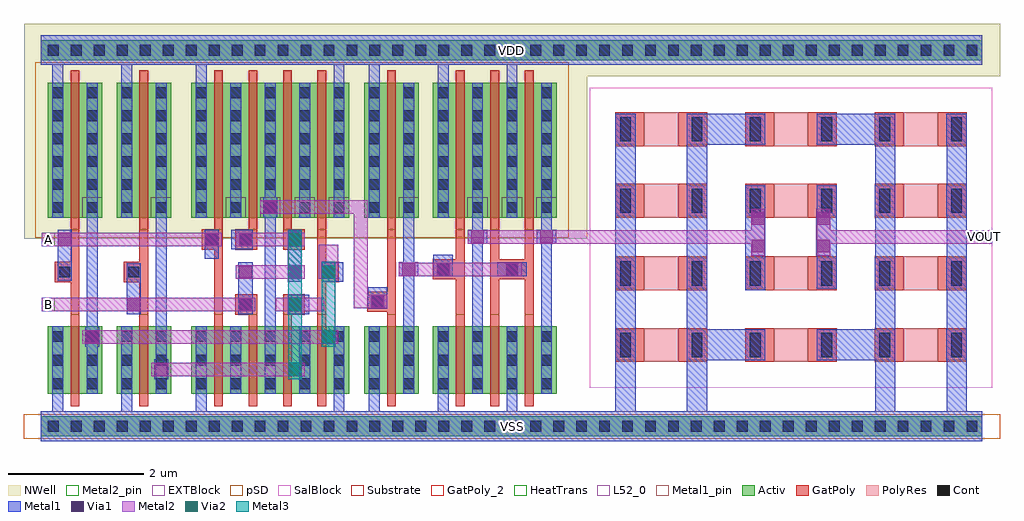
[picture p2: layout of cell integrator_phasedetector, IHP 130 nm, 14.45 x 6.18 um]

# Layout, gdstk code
from math import pi, radians
import gdstk
lib = gdstk.Library(unit=1e-6, precision=1e-09)
def R(c, l, rs):  # rectangles x0, y0, x1, y1
    for r in rs: c.add(gdstk.rectangle(r[:2], r[2:], *l))
def A(c, l, x, y, w, h, nx, ny, dx, dy):  # array of equal rectangles
    R(c, l, [(x+i*dx, y+j*dy, x+i*dx+w, y+j*dy+h) for i in range(nx) for j in range(ny)])
def P(c, l, *ps):  # polygons
    for p in ps: c.add(gdstk.Polygon(p, *l))
Activ = (1, 0)
GatPoly = (5, 0)
GatPoly_2 = (5, 2)
Cont = (6, 0)
Metal1 = (8, 0)
Metal1_pin = (8, 2)
Metal2 = (10, 0)
Metal2_pin = (10, 2)
pSD = (14, 0)
Via1 = (19, 0)
SalBlock = (28, 0)
Via2 = (29, 0)
Metal3 = (30, 0)
NWell = (31, 0)
Substrate = (40, 0)
HeatTrans = (51, 0)
L52_0 = (52, 0)
EXTBlock = (111, 0)
PolyRes = (128, 0)

nmos_3 = lib.new_cell('nmos$3')
R(nmos_3, Activ, [(0,0,0.3,0.3), (0,0,0.81,1), (0.51,0,0.81,0.3)])
R(nmos_3, GatPoly, [(0.34,-0.18,0.47,1.18)])
R(nmos_3, GatPoly_2, [(0.34,-0.18,0.47,1.18)])
A(nmos_3, Cont, 0.07, 0.07, 0.16, 0.16, 1, 3, 0, 0.35)
A(nmos_3, Cont, 0.58, 0.07, 0.16, 0.16, 1, 3, 0, 0.35)
R(nmos_3, Metal1, [(0.07,0,0.23,1), (0.58,0,0.74,1)])
R(nmos_3, Metal1_pin, [(0.07,0,0.23,1), (0.58,0,0.74,1)])
R(nmos_3, HeatTrans, [(0.34,-0.18,0.47,1.18)])
nmos_3.add(gdstk.Label('nmos', (0.405,0.5), layer=63, texttype=0))
nmos_3.add(gdstk.Label('nmos', (0.405,0.5), layer=51, texttype=0))

pmos_5 = lib.new_cell('pmos$5')
R(pmos_5, Activ, [(0,0,0.3,0.3), (0,0,0.81,2), (0.51,0,0.81,0.3)])
R(pmos_5, GatPoly, [(0.34,-0.18,0.47,2.18), (0.34,-0.18,0.47,2.18)])
A(pmos_5, Cont, 0.07, 0.07, 0.16, 0.16, 1, 6, 0, 0.34)
A(pmos_5, Cont, 0.58, 0.07, 0.16, 0.16, 1, 6, 0, 0.34)
R(pmos_5, Metal1, [(0.07,0,0.23,2), (0.07,0,0.23,2), (0.58,0,0.74,2), (0.58,0,0.74,2)])
R(pmos_5, pSD, [(-0.18,-0.3,0.99,2.3)])
R(pmos_5, NWell, [(-0.31,-0.31,1.12,2.31)])
R(pmos_5, Substrate, [(0.51,0,0.81,0.3)])
R(pmos_5, HeatTrans, [(0.34,-0.18,0.47,2.18)])
pmos_5.add(gdstk.Label('pmos', (0.405,1), layer=63, texttype=0))
pmos_5.add(gdstk.Label('pmos', (0.405,1), layer=51, texttype=0))

via_stack_4_2 = lib.new_cell('via_stack$4$2')
R(via_stack_4_2, Metal1, [(-0.145,-0.105,0.145,0.105)])
R(via_stack_4_2, Metal2, [(-0.145,-0.1,0.145,0.1)])
R(via_stack_4_2, Via1, [(-0.095,-0.095,0.095,0.095)])

via_stack_6 = lib.new_cell('via_stack$6')
R(via_stack_6, Activ, [(-6.95,-0.15,6.95,0.15)])
A(via_stack_6, Cont, -6.88, -0.08, 0.16, 0.16, 41, 1, 0.34, 0)
R(via_stack_6, Metal1, [(-6.93,-0.08,6.93,0.08)])

via_stack_2_1 = lib.new_cell('via_stack$2$1')
R(via_stack_2_1, GatPoly, [(-0.15,-0.15,0.15,0.15)])
R(via_stack_2_1, Cont, [(-0.08,-0.08,0.08,0.08)])
R(via_stack_2_1, Metal1, [(-0.145,-0.105,0.145,0.105)])
R(via_stack_2_1, Metal2, [(-0.145,-0.1,0.145,0.1)])
R(via_stack_2_1, Via1, [(-0.095,-0.095,0.095,0.095)])

via_stack_5_2 = lib.new_cell('via_stack$5$2')
R(via_stack_5_2, GatPoly, [(-0.15,-0.15,0.15,0.15)])
R(via_stack_5_2, Cont, [(-0.08,-0.08,0.08,0.08)])
R(via_stack_5_2, Metal1, [(-0.145,-0.105,0.145,0.105)])
R(via_stack_5_2, Metal2, [(-0.145,-0.1,0.145,0.1)])
R(via_stack_5_2, Via1, [(-0.095,-0.095,0.095,0.095)])

nmos_2 = lib.new_cell('nmos$2')
R(nmos_2, Activ, [(0,0,0.3,0.3), (0,0,0.81,1), (0.51,0,0.81,0.3)])
R(nmos_2, GatPoly, [(0.34,-0.18,0.47,1.18)])
R(nmos_2, GatPoly_2, [(0.34,-0.18,0.47,1.18)])
A(nmos_2, Cont, 0.07, 0.07, 0.16, 0.16, 1, 3, 0, 0.35)
A(nmos_2, Cont, 0.58, 0.07, 0.16, 0.16, 1, 3, 0, 0.35)
R(nmos_2, Metal1, [(0.07,0,0.23,1), (0.58,0,0.74,1)])
R(nmos_2, Metal1_pin, [(0.07,0,0.23,1), (0.58,0,0.74,1)])
R(nmos_2, HeatTrans, [(0.34,-0.18,0.47,1.18)])
nmos_2.add(gdstk.Label('nmos', (0.405,0.5), layer=63, texttype=0))
nmos_2.add(gdstk.Label('nmos', (0.405,0.5), layer=51, texttype=0))

nmos_1_3_1 = lib.new_cell('nmos$1$3$1')
R(nmos_1_3_1, Activ, [(15,0,15.3,0.3), (15,0,15.81,1), (15.51,0,15.81,0.3)])
R(nmos_1_3_1, GatPoly, [(15.34,-0.18,15.47,1.18)])
R(nmos_1_3_1, GatPoly_2, [(15.34,-0.18,15.47,1.18)])
A(nmos_1_3_1, Cont, 15.07, 0.07, 0.16, 0.16, 1, 3, 0, 0.35)
A(nmos_1_3_1, Cont, 15.58, 0.07, 0.16, 0.16, 1, 3, 0, 0.35)
R(nmos_1_3_1, Metal1, [(15.07,0,15.23,1), (15.58,0,15.74,1)])
R(nmos_1_3_1, Metal1_pin, [(15.07,0,15.23,1), (15.58,0,15.74,1)])
R(nmos_1_3_1, HeatTrans, [(15.34,-0.18,15.47,1.18)])
nmos_1_3_1.add(gdstk.Label('nmos', (15.405,0.5), layer=63, texttype=0))
nmos_1_3_1.add(gdstk.Label('nmos', (15.405,0.5), layer=51, texttype=0))

nmos_1_3 = lib.new_cell('nmos$1$3')
R(nmos_1_3, Activ, [(15,0,15.3,0.3), (15,0,15.81,1), (15.51,0,15.81,0.3)])
R(nmos_1_3, GatPoly, [(15.34,-0.18,15.47,1.18)])
R(nmos_1_3, GatPoly_2, [(15.34,-0.18,15.47,1.18)])
A(nmos_1_3, Cont, 15.07, 0.07, 0.16, 0.16, 1, 3, 0, 0.35)
A(nmos_1_3, Cont, 15.58, 0.07, 0.16, 0.16, 1, 3, 0, 0.35)
R(nmos_1_3, Metal1, [(15.07,0,15.23,1), (15.58,0,15.74,1)])
R(nmos_1_3, Metal1_pin, [(15.07,0,15.23,1), (15.58,0,15.74,1)])
R(nmos_1_3, HeatTrans, [(15.34,-0.18,15.47,1.18)])
nmos_1_3.add(gdstk.Label('nmos', (15.405,0.5), layer=63, texttype=0))
nmos_1_3.add(gdstk.Label('nmos', (15.405,0.5), layer=51, texttype=0))

pmos_4 = lib.new_cell('pmos$4')
R(pmos_4, Activ, [(15,0,15.3,0.3), (15,0,15.81,2), (15.51,0,15.81,0.3)])
R(pmos_4, GatPoly, [(15.34,-0.18,15.47,2.18), (15.34,-0.18,15.47,2.18)])
A(pmos_4, Cont, 15.07, 0.07, 0.16, 0.16, 1, 6, 0, 0.34)
A(pmos_4, Cont, 15.58, 0.07, 0.16, 0.16, 1, 6, 0, 0.34)
R(pmos_4, Metal1, [(15.07,0,15.23,2), (15.07,0,15.23,2), (15.58,0,15.74,2), (15.58,0,15.74,2)])
R(pmos_4, pSD, [(14.82,-0.3,15.99,2.3)])
R(pmos_4, NWell, [(14.69,-0.31,16.12,2.31)])
R(pmos_4, Substrate, [(15.51,0,15.81,0.3)])
R(pmos_4, HeatTrans, [(15.34,-0.18,15.47,2.18)])
pmos_4.add(gdstk.Label('pmos', (15.405,1), layer=63, texttype=0))
pmos_4.add(gdstk.Label('pmos', (15.405,1), layer=51, texttype=0))

pmos_4_1 = lib.new_cell('pmos$4$1')
R(pmos_4_1, Activ, [(15,0,15.3,0.3), (15,0,15.81,2), (15.51,0,15.81,0.3)])
R(pmos_4_1, GatPoly, [(15.34,-0.18,15.47,2.18), (15.34,-0.18,15.47,2.18)])
A(pmos_4_1, Cont, 15.07, 0.07, 0.16, 0.16, 1, 6, 0, 0.34)
A(pmos_4_1, Cont, 15.58, 0.07, 0.16, 0.16, 1, 6, 0, 0.34)
R(pmos_4_1, Metal1, [(15.07,0,15.23,2), (15.07,0,15.23,2), (15.58,0,15.74,2), (15.58,0,15.74,2)])
R(pmos_4_1, pSD, [(14.82,-0.3,15.99,2.3)])
R(pmos_4_1, NWell, [(14.69,-0.31,16.12,2.31)])
R(pmos_4_1, Substrate, [(15.51,0,15.81,0.3)])
R(pmos_4_1, HeatTrans, [(15.34,-0.18,15.47,2.18)])
pmos_4_1.add(gdstk.Label('pmos', (15.405,1), layer=63, texttype=0))
pmos_4_1.add(gdstk.Label('pmos', (15.405,1), layer=51, texttype=0))

pmos_2 = lib.new_cell('pmos$2')
R(pmos_2, Activ, [(0,0,0.3,0.3), (0,0,0.81,2), (0.51,0,0.81,0.3)])
R(pmos_2, GatPoly, [(0.34,-0.18,0.47,2.18), (0.34,-0.18,0.47,2.18)])
A(pmos_2, Cont, 0.07, 0.07, 0.16, 0.16, 1, 6, 0, 0.34)
A(pmos_2, Cont, 0.58, 0.07, 0.16, 0.16, 1, 6, 0, 0.34)
R(pmos_2, Metal1, [(0.07,0,0.23,2), (0.07,0,0.23,2), (0.58,0,0.74,2), (0.58,0,0.74,2)])
R(pmos_2, pSD, [(-0.18,-0.3,0.99,2.3)])
R(pmos_2, NWell, [(-0.31,-0.31,1.12,2.31)])
R(pmos_2, Substrate, [(0.51,0,0.81,0.3)])
R(pmos_2, HeatTrans, [(0.34,-0.18,0.47,2.18)])
pmos_2.add(gdstk.Label('pmos', (0.405,1), layer=63, texttype=0))
pmos_2.add(gdstk.Label('pmos', (0.405,1), layer=51, texttype=0))

via_stack_5_1 = lib.new_cell('via_stack$5$1')
R(via_stack_5_1, GatPoly, [(-0.15,-0.15,0.15,0.15)])
R(via_stack_5_1, Cont, [(-0.08,-0.08,0.08,0.08)])
R(via_stack_5_1, Metal1, [(-0.13,-0.08,0.13,0.08)])

via_stack_1_3 = lib.new_cell('via_stack$1$3')
R(via_stack_1_3, GatPoly, [(14.85,-0.15,15.15,0.15)])
R(via_stack_1_3, Cont, [(14.92,-0.08,15.08,0.08)])
R(via_stack_1_3, Metal1, [(14.87,-0.08,15.13,0.08)])

via_stack_1_3_1 = lib.new_cell('via_stack$1$3$1')
R(via_stack_1_3_1, GatPoly, [(14.85,-0.15,15.15,0.15)])
R(via_stack_1_3_1, Cont, [(14.92,-0.08,15.08,0.08)])
R(via_stack_1_3_1, Metal1, [(14.87,-0.08,15.13,0.08)])

rppd = lib.new_cell('rppd')
R(rppd, GatPoly, [(0,-0.43,0.5,-0.2), (0,-0.2,0.5,0), (0,0.5,0.5,0.7), (0,0.7,0.5,0.93)])
R(rppd, Cont, [(0.07,-0.36,0.43,-0.2), (0.07,0.7,0.43,0.86)])
R(rppd, Metal1, [(0.02,-0.43,0.48,-0.13), (0.02,0.63,0.48,0.93)])
R(rppd, Metal1_pin, [(0.02,-0.43,0.48,-0.13), (0.02,0.63,0.48,0.93)])
R(rppd, pSD, [(-0.18,-0.61,0.68,0), (-0.18,0,0.68,0.5), (-0.18,0.5,0.68,1.11)])
R(rppd, SalBlock, [(-0.2,0,0.7,0.5)])
R(rppd, L52_0, [(0,0,0.5,0.5)])
R(rppd, EXTBlock, [(-0.18,-0.61,0.68,0), (-0.2,0,0.7,0.5), (-0.18,0.5,0.68,1.11)])
R(rppd, PolyRes, [(0,0,0.5,0.5)])
rppd.add(gdstk.Label('rppd r=396.917', (0.25,0.25), layer=63, texttype=0))
rppd.add(gdstk.Label('rppd', (0.25,0.25), layer=52, texttype=0))

via_stack_10 = lib.new_cell('via_stack$10')
R(via_stack_10, Metal1, [(-0.105,-0.35,0.105,0.35)])
R(via_stack_10, Metal2, [(-0.1,-0.35,0.1,0.35)])
R(via_stack_10, Via1, [(-0.095,-0.3,0.095,-0.11), (-0.095,0.11,0.095,0.3)])

integrator_phasedetector = lib.new_cell('integrator_phasedetector')
R(integrator_phasedetector, GatPoly, [(0.69,1.86,0.82,3.11), (1.71,1.86,1.84,3.11), (6.355,2.375,6.395,2.675), (7.035,2.375,7.415,2.675)])
A(integrator_phasedetector, Metal1, 3.175, 1.86, 0.21, 0.29, 1, 3, 0, 0.48)
R(integrator_phasedetector, Metal1, [(5.005,-0.02,14.19,0.42), (8.755,0.415,9.055,4.83), (9.815,0.415,10.115,4.83), (12.6,0.415,12.9,4.83), (13.66,0.415,13.96,4.83), (0.42,0.42,0.58,1.08), (1.44,0.42,1.6,1.08), (1.925,0.9,2.135,1.19), (0.93,1.135,1.09,3.725), (1.95,1.135,2.11,3.725), (9.815,1.175,10.975,1.635), (11.735,1.175,12.895,1.635), (0.905,1.38,1.115,1.67), (1.52,1.86,1.73,2.15), (3.905,1.86,4.225,2.15), (5.09,1.94,5.38,2.26), (10.675,2.215,10.975,3.77), (11.735,2.235,12.035,3.77), (3.905,2.34,4.115,2.63), (4.405,2.34,4.725,2.63), (6.06,2.42,6.35,2.74), (7.01,2.42,7.44,2.63), (0.5,2.82,0.71,3.11), (3.065,2.82,3.385,3.11), (3.54,3.3,3.75,3.59), (9.815,4.37,10.975,4.83), (11.735,4.37,12.895,4.83), (0.42,4.67,0.58,5.76), (1.44,4.67,1.6,5.76), (5.005,5.55,14.19,5.99)])
P(integrator_phasedetector, Metal1, [(0.42,5.01),(0.42,5.01),(0.58,5.01),(0.58,5.01)],
  [(1.44,5.01),(1.44,5.01),(1.6,5.01),(1.6,5.01)])
R(integrator_phasedetector, Metal1_pin, [(0.245,-0.02,14.19,0.42), (0.245,5.55,14.19,5.99)])
A(integrator_phasedetector, Metal2, 3.135, 1.905, 0.29, 0.2, 1, 3, 0, 0.48)
A(integrator_phasedetector, Metal2, 3.865, 1.905, 0.29, 0.2, 1, 3, 0, 0.48)
R(integrator_phasedetector, Metal2, [(1.885,0.945,2.175,1.145), (3.865,0.945,4.155,1.145), (0.865,1.425,1.155,1.625), (4.365,1.425,4.655,1.625), (3.135,1.905,3.425,2.105), (3.865,1.905,4.155,2.105), (4.88,1.945,5.09,3.545), (4.885,1.945,5.38,2.145), (5.09,1.945,5.38,2.145), (4.365,2.385,4.655,2.585), (4.365,2.385,4.655,2.885), (0.46,2.865,0.75,3.065), (2.635,2.865,2.925,3.065), (7.88,2.905,10.97,3.105), (11.735,2.905,14.335,3.105), (3.5,3.345,3.79,3.545), (4.7,3.345,5.09,3.545)])
R(integrator_phasedetector, Metal2_pin, [(0.26,1.905,0.455,2.105), (0.26,2.865,0.455,3.065), (14.135,2.905,14.335,3.105)])
R(integrator_phasedetector, pSD, [(0,0.02,14.45,0.38), (8.375,0.775,14.205,5.21), (8.375,0.775,14.335,5.21), (0.17,2.99,8.065,5.59)])
R(integrator_phasedetector, Via1, [(1.935,0.95,2.125,1.14), (1.935,0.95,2.125,1.14), (0.915,1.43,1.105,1.62), (1.53,1.91,1.72,2.1), (3.185,1.91,3.375,2.1), (3.185,1.91,3.375,2.1), (3.915,1.91,4.105,2.1), (5.14,1.95,5.33,2.14), (5.14,1.95,5.33,2.14), (3.185,2.39,3.375,2.58), (3.185,2.39,3.375,2.58), (3.185,2.39,3.375,2.58), (3.915,2.39,4.105,2.58), (3.915,2.39,4.105,2.58), (4.415,2.39,4.605,2.58), (0.51,2.87,0.7,3.06), (2.685,2.87,2.875,3.06), (3.185,2.87,3.375,3.06), (3.55,3.35,3.74,3.54), (3.55,3.35,3.74,3.54)])
R(integrator_phasedetector, SalBlock, [(8.375,0.775,14.335,5.21)])
A(integrator_phasedetector, Via2, 3.915, 0.95, 0.19, 0.19, 1, 3, 0, 0.96)
R(integrator_phasedetector, Via2, [(4.415,1.43,4.605,1.62), (4.415,2.39,4.605,2.58)])
A(integrator_phasedetector, Metal3, 3.91, 0.9, 0.2, 0.29, 1, 3, 0, 0.96)
R(integrator_phasedetector, Metal3, [(4.41,1.38,4.61,1.67), (4.41,2.34,4.61,2.63)])
R(integrator_phasedetector, NWell, [(0.005,2.98,8.34,6.16), (8.34,5.38,14.45,6.16)])
R(integrator_phasedetector, EXTBlock, [(8.375,0.775,14.335,5.21)])
integrator_phasedetector.add(gdstk.FlexPath([(1.625,1.905),(1.625,2.615)], 0.21, ends="flush", simple_path=True, layer=8, datatype=0))  # Metal1
integrator_phasedetector.add(gdstk.FlexPath([(0.605,2.355),(0.605,3.065)], 0.21, ends="flush", simple_path=True, layer=8, datatype=0))  # Metal1
integrator_phasedetector.add(gdstk.FlexPath([(1.265,5.77),(2.285,5.77)], 0.44, ends="flush", simple_path=True, layer=8, datatype=0))  # Metal1
integrator_phasedetector.add(gdstk.FlexPath([(0.245,5.77),(1.265,5.77)], 0.44, ends="flush", simple_path=True, layer=8, datatype=0))  # Metal1
integrator_phasedetector.add(gdstk.FlexPath([(2.285,5.77),(5.005,5.77)], 0.44, ends="flush", simple_path=True, layer=8, datatype=0))  # Metal1
integrator_phasedetector.add(gdstk.FlexPath([(7.735,3.29),(7.735,1.68)], 0.16, ends="flush", simple_path=True, layer=8, datatype=0))  # Metal1
integrator_phasedetector.add(gdstk.FlexPath([(6.715,3.29),(6.715,1.68)], 0.16, ends="flush", simple_path=True, layer=8, datatype=0))  # Metal1
integrator_phasedetector.add(gdstk.FlexPath([(5.695,3.29),(5.695,1.68)], 0.16, ends="flush", simple_path=True, layer=8, datatype=0))  # Metal1
integrator_phasedetector.add(gdstk.FlexPath([(5.185,0.35),(5.185,0.8)], 0.16, ends="flush", simple_path=True, layer=8, datatype=0))  # Metal1
integrator_phasedetector.add(gdstk.FlexPath([(6.205,0.76),(6.205,0.35)], 0.16, ends="flush", simple_path=True, layer=8, datatype=0))  # Metal1
integrator_phasedetector.add(gdstk.FlexPath([(7.225,0.76),(7.225,0.35)], 0.16, ends="flush", simple_path=True, layer=8, datatype=0))  # Metal1
integrator_phasedetector.add(gdstk.FlexPath([(7.225,5.29),(7.225,5.55)], 0.16, ends="flush", simple_path=True, layer=8, datatype=0))  # Metal1
integrator_phasedetector.add(gdstk.FlexPath([(5.185,5.29),(5.185,5.55)], 0.16, ends="flush", simple_path=True, layer=8, datatype=0))  # Metal1
integrator_phasedetector.add(gdstk.FlexPath([(6.205,5.29),(6.205,5.55)], 0.16, ends="flush", simple_path=True, layer=8, datatype=0))  # Metal1
integrator_phasedetector.add(gdstk.FlexPath([(2.625,0.42),(2.625,0.68)], 0.16, ends="flush", simple_path=True, layer=8, datatype=0))  # Metal1
integrator_phasedetector.add(gdstk.FlexPath([(4.665,0.42),(4.665,0.68)], 0.16, ends="flush", simple_path=True, layer=8, datatype=0))  # Metal1
integrator_phasedetector.add(gdstk.FlexPath([(3.645,3.29),(3.645,1.68)], 0.16, ends="flush", simple_path=True, layer=8, datatype=0))  # Metal1
integrator_phasedetector.add(gdstk.FlexPath([(4.665,5.29),(4.665,5.55)], 0.16, ends="flush", simple_path=True, layer=8, datatype=0))  # Metal1
integrator_phasedetector.add(gdstk.FlexPath([(2.625,5.29),(2.625,5.55)], 0.16, ends="flush", simple_path=True, layer=8, datatype=0))  # Metal1
integrator_phasedetector.add(gdstk.FlexPath([(2.78,2.68),(2.78,3.11)], 0.21, ends="flush", simple_path=True, layer=8, datatype=0))  # Metal1
integrator_phasedetector.add(gdstk.FlexPath([(1.265,0.2),(2.285,0.2)], 0.44, ends="flush", simple_path=True, layer=8, datatype=0))  # Metal1
integrator_phasedetector.add(gdstk.FlexPath([(4.01,2.34),(4.01,3.095)], 0.21, ends="flush", simple_path=True, layer=8, datatype=0))  # Metal1
integrator_phasedetector.add(gdstk.FlexPath([(0.245,0.2),(1.265,0.2)], 0.44, ends="flush", simple_path=True, layer=8, datatype=0))  # Metal1
integrator_phasedetector.add(gdstk.FlexPath([(2.285,0.2),(5.005,0.2)], 0.44, ends="flush", simple_path=True, layer=8, datatype=0))  # Metal1
integrator_phasedetector.add(gdstk.FlexPath([(3.28,1.875),(3.28,2.63)], 0.21, ends="flush", simple_path=True, layer=8, datatype=0))  # Metal1
integrator_phasedetector.add(gdstk.FlexPath([(6.86,3.005),(8.08,3.005)], 0.2, ends="flush", simple_path=True, layer=10, datatype=0))  # Metal2
integrator_phasedetector.add(gdstk.FlexPath([(5.84,2.525),(7.37,2.525)], 0.2, ends="flush", simple_path=True, layer=10, datatype=0))  # Metal2
integrator_phasedetector.add(gdstk.FlexPath([(4.895,3.445),(3.5,3.445)], 0.2, ends="flush", simple_path=True, layer=10, datatype=0))  # Metal2
integrator_phasedetector.add(gdstk.FlexPath([(3.135,2.485),(4.155,2.485)], 0.2, ends="flush", simple_path=True, layer=10, datatype=0))  # Metal2
integrator_phasedetector.add(gdstk.FlexPath([(1.885,1.045),(4.155,1.045)], 0.2, ends="flush", simple_path=True, layer=10, datatype=0))  # Metal2
integrator_phasedetector.add(gdstk.FlexPath([(2.925,2.965),(0.26,2.965)], 0.2, ends="flush", simple_path=True, layer=10, datatype=0))  # Metal2
integrator_phasedetector.add(gdstk.FlexPath([(0.865,1.525),(4.61,1.525)], 0.2, ends="flush", simple_path=True, layer=10, datatype=0))  # Metal2
integrator_phasedetector.add(gdstk.FlexPath([(3.725,2.005),(4.445,2.005)], 0.2, ends="flush", simple_path=True, layer=10, datatype=0))  # Metal2
integrator_phasedetector.add(gdstk.FlexPath([(3.135,2.965),(4.155,2.965)], 0.2, ends="flush", simple_path=True, layer=10, datatype=0))  # Metal2
integrator_phasedetector.add(gdstk.FlexPath([(0.26,2.005),(3.425,2.005)], 0.2, ends="flush", simple_path=True, layer=10, datatype=0))  # Metal2
integrator_phasedetector.add(gdstk.FlexPath([(7.48,3.11),(7.48,1.86)], 0.13, ends="flush", simple_path=True, layer=5, datatype=0))  # GatPoly
integrator_phasedetector.add(gdstk.FlexPath([(6.97,3.11),(6.97,1.86)], 0.13, ends="flush", simple_path=True, layer=5, datatype=0))  # GatPoly
integrator_phasedetector.add(gdstk.FlexPath([(6.46,3.11),(6.46,1.86)], 0.13, ends="flush", simple_path=True, layer=5, datatype=0))  # GatPoly
integrator_phasedetector.add(gdstk.FlexPath([(5.44,3.11),(5.44,1.86)], 0.13, ends="flush", simple_path=True, layer=5, datatype=0))  # GatPoly
integrator_phasedetector.add(gdstk.FlexPath([(2.88,1.86),(2.88,3.11)], 0.13, ends="flush", simple_path=True, layer=5, datatype=0))  # GatPoly
integrator_phasedetector.add(gdstk.FlexPath([(4.41,1.86),(4.41,3.11)], 0.13, ends="flush", simple_path=True, layer=5, datatype=0))  # GatPoly
integrator_phasedetector.add(gdstk.FlexPath([(3.39,1.86),(3.39,2.155)], 0.13, ends="flush", simple_path=True, layer=5, datatype=0))  # GatPoly
integrator_phasedetector.add(gdstk.FlexPath([(3.9,1.86),(3.9,2.155)], 0.13, ends="flush", simple_path=True, layer=5, datatype=0))  # GatPoly
integrator_phasedetector.add(gdstk.FlexPath([(3.39,2.815),(3.39,3.115)], 0.13, ends="flush", simple_path=True, layer=5, datatype=0))  # GatPoly
integrator_phasedetector.add(gdstk.FlexPath([(3.9,2.815),(3.9,3.115)], 0.13, ends="flush", simple_path=True, layer=5, datatype=0))  # GatPoly
integrator_phasedetector.add(gdstk.FlexPath([(0.245,0.2),(14.19,0.2)], 0.3, ends="flush", simple_path=True, layer=1, datatype=0))  # Activ
integrator_phasedetector.add(gdstk.FlexPath([(0.245,5.77),(14.19,5.77)], 0.3, ends="flush", simple_path=True, layer=1, datatype=0))  # Activ
integrator_phasedetector.add(gdstk.FlexPath([(4.01,1.15),(4.01,3.11)], 0.2, ends="flush", simple_path=True, layer=30, datatype=0))  # Metal3
integrator_phasedetector.add(gdstk.FlexPath([(4.51,1.38),(4.51,2.635)], 0.2, ends="flush", simple_path=True, layer=30, datatype=0))  # Metal3
integrator_phasedetector.add(gdstk.Reference(nmos_3, (7.075,0.68)))
integrator_phasedetector.add(gdstk.Reference(nmos_3, (6.565,0.68)))
integrator_phasedetector.add(gdstk.Reference(nmos_3, (6.055,0.68)))
integrator_phasedetector.add(gdstk.Reference(pmos_5, (6.055,3.29)))
integrator_phasedetector.add(gdstk.Reference(via_stack_4_2, (5.695,2.525), rotation=pi))
integrator_phasedetector.add(gdstk.Reference(pmos_5, (5.035,3.29)))
integrator_phasedetector.add(gdstk.Reference(pmos_5, (6.565,3.29)))
integrator_phasedetector.add(gdstk.Reference(pmos_5, (7.075,3.29)))
integrator_phasedetector.add(gdstk.Reference(via_stack_6, (7.235,5.77)))
integrator_phasedetector.add(gdstk.Reference(via_stack_4_2, (7.735,3.005)))
integrator_phasedetector.add(gdstk.Reference(via_stack_2_1, (7.225,2.525)))
integrator_phasedetector.add(gdstk.Reference(via_stack_2_1, (6.205,2.525)))
integrator_phasedetector.add(gdstk.Reference(via_stack_4_2, (6.715,3.005)))
integrator_phasedetector.add(gdstk.Reference(via_stack_5_2, (5.235,2.045)))
integrator_phasedetector.add(gdstk.Reference(nmos_2, (2.985,0.68)))
integrator_phasedetector.add(gdstk.Reference(nmos_2, (2.475,0.68)))
integrator_phasedetector.add(gdstk.Reference(nmos_2, (3.495,0.68)))
integrator_phasedetector.add(gdstk.Reference(nmos_2, (4.005,0.68)))
integrator_phasedetector.add(gdstk.Reference(nmos_1_3_1, (-13.63,0.68)))
integrator_phasedetector.add(gdstk.Reference(nmos_1_3, (-14.65,0.68)))
integrator_phasedetector.add(gdstk.Reference(pmos_4, (-14.65,3.29)))
integrator_phasedetector.add(gdstk.Reference(pmos_4_1, (-13.63,3.29)))
integrator_phasedetector.add(gdstk.Reference(pmos_2, (3.495,3.29)))
integrator_phasedetector.add(gdstk.Reference(pmos_2, (2.985,3.29)))
integrator_phasedetector.add(gdstk.Reference(pmos_2, (4.005,3.29)))
integrator_phasedetector.add(gdstk.Reference(pmos_2, (2.475,3.29)))
integrator_phasedetector.add(gdstk.Reference(via_stack_5_1, (3.28,2.005), rotation=3*pi/2))
integrator_phasedetector.add(gdstk.Reference(via_stack_5_1, (4.01,2.005), rotation=3*pi/2))
integrator_phasedetector.add(gdstk.Reference(via_stack_1_3, (0.605,17.485), rotation=3*pi/2))
integrator_phasedetector.add(gdstk.Reference(via_stack_1_3_1, (1.625,17.485), rotation=3*pi/2))
integrator_phasedetector.add(gdstk.Reference(via_stack_5_1, (2.78,2.965), rotation=3*pi/2))
integrator_phasedetector.add(gdstk.Reference(via_stack_5_1, (4.01,2.965), rotation=3*pi/2))
integrator_phasedetector.add(gdstk.Reference(via_stack_5_1, (4.51,2.485), rotation=3*pi/2))
integrator_phasedetector.add(gdstk.Reference(via_stack_5_1, (3.28,2.965), rotation=3*pi/2))
integrator_phasedetector.add(gdstk.Reference(nmos_3, (5.035,0.68)))
integrator_phasedetector.add(gdstk.Reference(via_stack_6, (7.235,0.2)))
integrator_phasedetector.add(gdstk.Reference(rppd, (13.025,2.715), rotation=3*pi/2))
integrator_phasedetector.add(gdstk.Reference(rppd, (13.025,4.85), rotation=3*pi/2))
integrator_phasedetector.add(gdstk.Reference(rppd, (13.025,3.79), rotation=3*pi/2))
integrator_phasedetector.add(gdstk.Reference(rppd, (9.185,3.79), rotation=3*pi/2))
integrator_phasedetector.add(gdstk.Reference(rppd, (11.105,4.85), rotation=3*pi/2))
integrator_phasedetector.add(gdstk.Reference(rppd, (11.105,1.655), rotation=3*pi/2))
integrator_phasedetector.add(gdstk.Reference(rppd, (9.185,2.715), rotation=3*pi/2))
integrator_phasedetector.add(gdstk.Reference(rppd, (13.025,1.655), rotation=3*pi/2))
integrator_phasedetector.add(gdstk.Reference(rppd, (9.185,1.655), rotation=3*pi/2))
integrator_phasedetector.add(gdstk.Reference(rppd, (11.105,2.715), rotation=3*pi/2))
integrator_phasedetector.add(gdstk.Reference(rppd, (9.185,4.85), rotation=3*pi/2))
integrator_phasedetector.add(gdstk.Reference(rppd, (11.105,3.79), rotation=3*pi/2))
integrator_phasedetector.add(gdstk.Reference(via_stack_10, (11.835,3.075), rotation=pi))
integrator_phasedetector.add(gdstk.Reference(via_stack_10, (10.87,3.075), rotation=pi))
integrator_phasedetector.add(gdstk.Label('VDD', (7.217,5.77), layer=8, texttype=25))
integrator_phasedetector.add(gdstk.Label('VSS', (7.235,0.2), layer=8, texttype=25))
integrator_phasedetector.add(gdstk.Label('VOUT', (14.215,3.005), layer=10, texttype=25))
integrator_phasedetector.add(gdstk.Label('B', (0.357,2), layer=10, texttype=25))
integrator_phasedetector.add(gdstk.Label('A', (0.357,2.97), layer=10, texttype=25))

lib.write_gds('integrator_phasedetector.gds')
